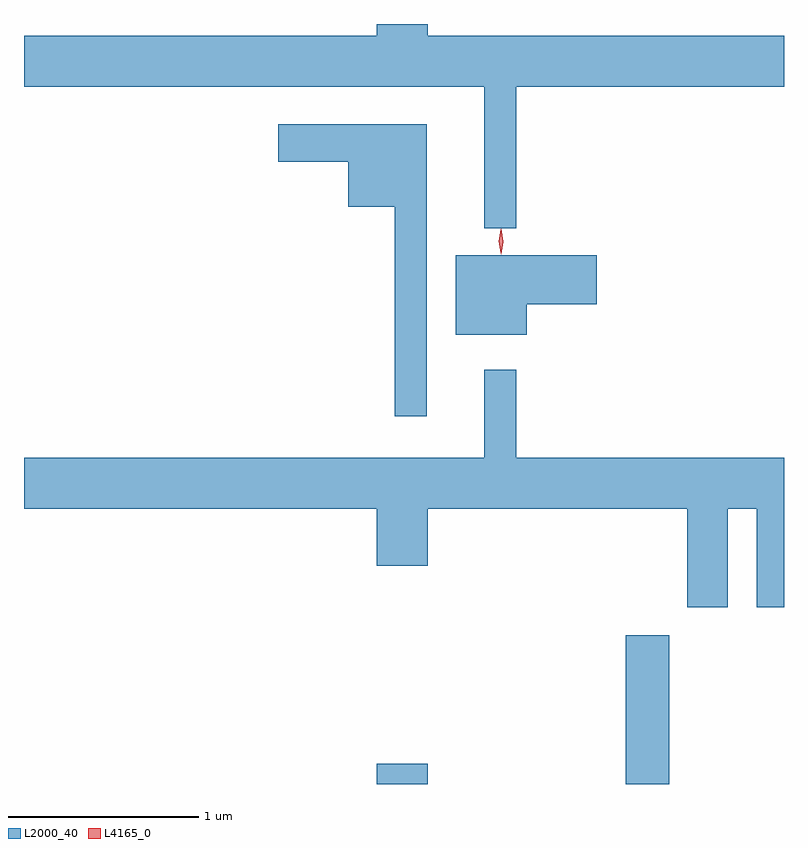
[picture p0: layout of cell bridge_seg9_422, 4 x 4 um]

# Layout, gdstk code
import gdstk
lib = gdstk.Library(unit=1e-6, precision=1e-09)
def R(c, l, rs):  # rectangles x0, y0, x1, y1
    for r in rs: c.add(gdstk.rectangle(r[:2], r[2:], *l))
def P(c, l, *ps):  # polygons
    for p in ps: c.add(gdstk.Polygon(p, *l))
L2000_40 = (2000, 40)
L4165_0 = (4165, 0)

bridge_seg9_422 = lib.new_cell('bridge_seg9_422')
R(bridge_seg9_422, L2000_40, [(394.896,2056.967,395.164,2057.074), (396.206,2056.967,396.434,2057.749)])
P(bridge_seg9_422, L2000_40, [(395.629,2060.636),(397.039,2060.636),(397.039,2060.904),(395.164,2060.904),(395.164,2060.967),(394.896,2060.967),(394.896,2060.904),(393.039,2060.904),(393.039,2060.636),(395.461,2060.636),(395.461,2059.893),(395.629,2059.893)],
  [(395.159,2060.439),(394.376,2060.439),(394.376,2060.241),(394.746,2060.241),(394.746,2060.006),(394.991,2060.006),(394.991,2058.903),(395.159,2058.903)],
  [(395.684,2059.491),(396.054,2059.491),(396.054,2059.749),(395.311,2059.749),(395.311,2059.331),(395.684,2059.331)],
  [(396.744,2058.416),(396.896,2058.416),(396.896,2057.896),(397.039,2057.896),(397.039,2058.684),(395.629,2058.684),(395.629,2059.148),(395.461,2059.148),(395.461,2058.684),(393.039,2058.684),(393.039,2058.416),(394.896,2058.416),(394.896,2058.116),(395.164,2058.116),(395.164,2058.416),(396.531,2058.416),(396.531,2057.896),(396.744,2057.896)])
P(bridge_seg9_422, L4165_0, [(395.551,2059.754),(395.551,2059.754),(395.541,2059.822),(395.55,2059.89),(395.55,2059.89),(395.551,2059.89),(395.561,2059.822),(395.552,2059.754)],
  [(395.547,2059.76),(395.538,2059.823),(395.547,2059.886),(395.548,2059.887),(395.548,2059.886),(395.558,2059.823),(395.548,2059.76),(395.548,2059.76)])

lib.write_gds('bridge_seg9_422.gds')
